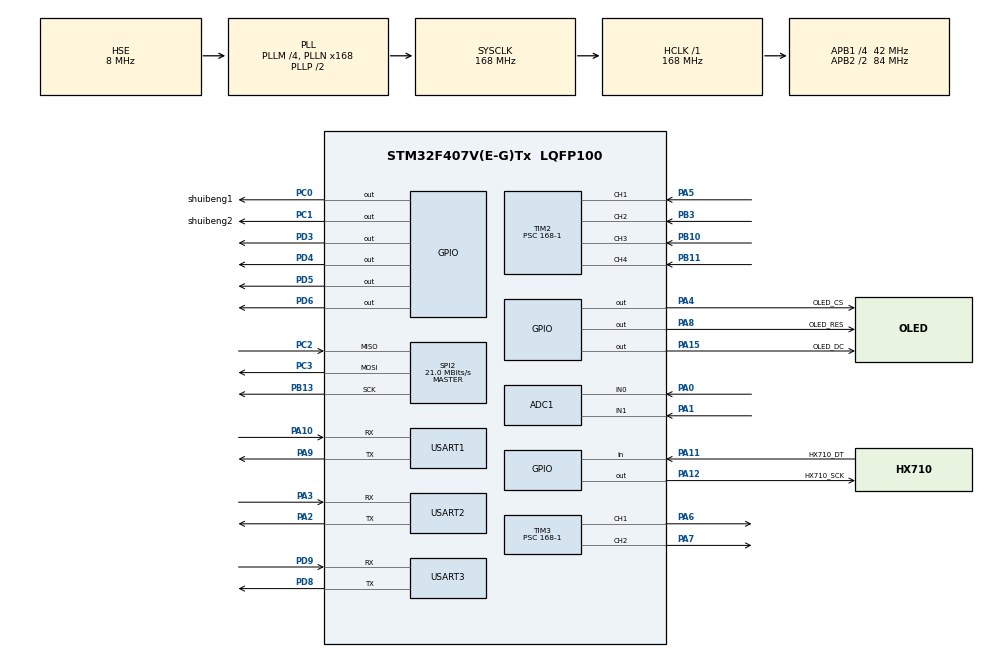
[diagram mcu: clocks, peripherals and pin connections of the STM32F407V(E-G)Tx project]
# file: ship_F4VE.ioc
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ADC1.Channel-2\#ChannelRegularConversion=ADC_CHANNEL_0
ADC1.Channel-3\#ChannelRegularConversion=ADC_CHANNEL_1
ADC1.ContinuousConvMode=DISABLE
ADC1.DMAContinuousRequests=DISABLE
ADC1.DiscontinuousConvMode=ENABLE
ADC1.NbrOfConversion=2
ADC1.NbrOfConversionFlag=1
ADC1.Rank-2\#ChannelRegularConversion=1
ADC1.Rank-3\#ChannelRegularConversion=2
ADC1.SamplingTime-2\#ChannelRegularConversion=ADC_SAMPLETIME_3CYCLES
ADC1.SamplingTime-3\#ChannelRegularConversion=ADC_SAMPLETIME_3CYCLES
ADC1.ScanConvMode=ENABLE
ADC1.master=1
FREERTOS.Queues01=capture1Queue,16,uint16_t,0,Dynamic,NULL,NULL;capture2Queue,16,uint16_t,0,Dynamic,NULL,NULL
FREERTOS.Tasks01=defaultTask,0,128,StartDefaultTask,Default,NULL,Dynamic,NULL,NULL;MPU6050Task,2,128,mpu6050Task,Default,NULL,Dynamic,NULL,NULL;TIMtask,1,128,timtask,Default,NULL,Dynamic,NULL,NULL;DISPLAY,0,128,display,Default,NULL,Dynamic,NULL,NULL;MQTT,0,128,mqtt,Default,NULL,Dynamic,NULL,NULL
Mcu.Family=STM32F4
Mcu.Name=STM32F407V(E-G)Tx
Mcu.Package=LQFP100
NVIC.PriorityGroup=NVIC_PRIORITYGROUP_4
NVIC.TIM2_IRQn=true\:5\:0\:false\:false\:true\:true\:true\:true
NVIC.TIM7_IRQn=true\:0\:0\:false\:false\:true\:false\:false\:true
NVIC.TimeBase=TIM7_IRQn
NVIC.TimeBaseIP=TIM7
NVIC.USART1_IRQn=true\:5\:0\:false\:false\:true\:true\:true\:true
NVIC.USART2_IRQn=true\:5\:0\:false\:false\:true\:true\:true\:true
NVIC.USART3_IRQn=true\:5\:0\:false\:false\:true\:true\:true\:true
PA0-WKUP.Signal=ADCx_IN0
PA1.Signal=ADCx_IN1
PA10.Mode=Asynchronous
PA10.Signal=USART1_RX
PA11.GPIO_Label=HX710_DT
PA11.Signal=GPIO_Input
PA12.GPIO_Label=HX710_SCK
PA12.Signal=GPIO_Output
PA13.Mode=Serial_Wire
PA13.Signal=SYS_JTMS-SWDIO
PA14.Mode=Serial_Wire
PA14.Signal=SYS_JTCK-SWCLK
PA15.GPIO_Label=OLED_DC
PA15.GPIO_Speed=GPIO_SPEED_FREQ_HIGH
PA15.Signal=GPIO_Output
PA2.Mode=Asynchronous
PA2.Signal=USART2_TX
PA3.Mode=Asynchronous
PA3.Signal=USART2_RX
PA4.GPIO_Label=OLED_CS
PA4.Signal=GPIO_Output
PA5.Signal=S_TIM2_CH1_ETR
PA6.Signal=S_TIM3_CH1
PA7.Signal=S_TIM3_CH2
PA8.GPIO_Label=OLED_RES
PA8.Signal=GPIO_Output
PA9.Mode=Asynchronous
PA9.Signal=USART1_TX
PB10.Signal=S_TIM2_CH3
PB11.Signal=S_TIM2_CH4
PB13.Mode=Full_Duplex_Master
PB13.Signal=SPI2_SCK
PB3.Signal=S_TIM2_CH2
PC0.GPIO_Label=shuibeng1
PC0.Signal=GPIO_Output
PC1.GPIO_Label=shuibeng2
PC1.Signal=GPIO_Output
PC2.Mode=Full_Duplex_Master
PC2.Signal=SPI2_MISO
PC3.Mode=Full_Duplex_Master
PC3.Signal=SPI2_MOSI
PD3.Signal=GPIO_Output
PD4.Signal=GPIO_Output
PD5.Signal=GPIO_Output
PD6.Signal=GPIO_Output
PD8.Mode=Asynchronous
PD8.Signal=USART3_TX
PD9.Mode=Asynchronous
PD9.Signal=USART3_RX
PH0-OSC_IN.Mode=HSE-External-Oscillator
PH0-OSC_IN.Signal=RCC_OSC_IN
PH1-OSC_OUT.Mode=HSE-External-Oscillator
PH1-OSC_OUT.Signal=RCC_OSC_OUT
ProjectManager.HeapSize=0x200
ProjectManager.StackSize=0x400
ProjectManager.TargetToolchain=MDK-ARM V5.27
RCC.48MHZClocksFreq_Value=84000000
RCC.AHBFreq_Value=168000000
RCC.APB1CLKDivider=RCC_HCLK_DIV4
RCC.APB1Freq_Value=42000000
RCC.APB1TimFreq_Value=84000000
RCC.APB2CLKDivider=RCC_HCLK_DIV2
RCC.APB2Freq_Value=84000000
RCC.APB2TimFreq_Value=168000000
RCC.CortexFreq_Value=168000000
RCC.HCLKFreq_Value=168000000
RCC.HSE_VALUE=8000000
RCC.HSI_VALUE=16000000
RCC.LSE_VALUE=32768
RCC.PLLM=4
RCC.PLLN=168
RCC.PLLSourceVirtual=RCC_PLLSOURCE_HSE
RCC.SYSCLKFreq_VALUE=168000000
RCC.SYSCLKSource=RCC_SYSCLKSOURCE_PLLCLK
RCC.VCOOutputFreq_Value=336000000
SH.ADCx_IN0.0=ADC1_IN0,IN0
SH.ADCx_IN1.0=ADC1_IN1,IN1
SH.S_TIM2_CH1_ETR.0=TIM2_CH1,Input_Capture1_from_TI1
SH.S_TIM2_CH2.0=TIM2_CH2,Input_Capture2_from_TI2
SH.S_TIM2_CH3.0=TIM2_CH3,Input_Capture3_from_TI3
SH.S_TIM2_CH4.0=TIM2_CH4,Input_Capture4_from_TI4
SH.S_TIM3_CH1.0=TIM3_CH1,PWM Generation1 CH1
SH.S_TIM3_CH2.0=TIM3_CH2,PWM Generation2 CH2
SPI2.CalculateBaudRate=21.0 MBits/s
SPI2.Direction=SPI_DIRECTION_2LINES
SPI2.Mode=SPI_MODE_MASTER
SPI2.VirtualType=VM_MASTER
TIM2.Channel-Input_Capture1_from_TI1=TIM_CHANNEL_1
TIM2.Channel-Input_Capture2_from_TI2=TIM_CHANNEL_2
TIM2.Channel-Input_Capture3_from_TI3=TIM_CHANNEL_3
TIM2.Channel-Input_Capture4_from_TI4=TIM_CHANNEL_4
TIM2.Prescaler=168-1
TIM3.Channel-PWM\ Generation1\ CH1=TIM_CHANNEL_1
TIM3.Channel-PWM\ Generation2\ CH2=TIM_CHANNEL_2
TIM3.Period=1000-1
TIM3.Prescaler=168-1
TIM6.Prescaler=168-1
USART1.VirtualMode=VM_ASYNC
USART2.VirtualMode=VM_ASYNC
USART3.VirtualMode=VM_ASYNC
VP_FREERTOS_VS_CMSIS_V1.Mode=CMSIS_V1
VP_SYS_VS_tim7.Mode=TIM7
VP_TIM6_VS_ClockSourceINT.Mode=Enable_Timer
board=custom

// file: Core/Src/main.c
/* USER CODE BEGIN Header */
/**
  ******************************************************************************
  * @file           : main.c
  * @brief          : Main program body
  ******************************************************************************
  * @attention
  *
  * <h2><center>&copy; Copyright (c) 2021 STMicroelectronics.
  * All rights reserved.</center></h2>
  *
  * This software component is licensed by ST under BSD 3-Clause license,
  * the "License"; You may not use this file except in compliance with the
  * License. You may obtain a copy of the License at:
  *                        opensource.org/licenses/BSD-3-Clause
  *
  ******************************************************************************
  */
/* USER CODE END Header */
#include "main.h"
#include "cmsis_os.h"
#include "adc.h"
#include "spi.h"
#include "tim.h"
#include "usart.h"
#include "gpio.h"

/* USER CODE BEGIN Includes */
#include "hx710.h"     //测气压
#include <oled.h>      //oled
#include <GUI.h>       //字库
#include "esp8266_at.h"    //ESP8266 AT指令
#include "esp8266_mqtt.h"   //MQTT协议
/* USER CODE END Includes */

/* USER CODE BEGIN PTD */
//int i=0;
short aacx,aacy,aacz;			//加速度传感器原始数据
short gyrox,gyroy,gyroz;		//陀螺仪原始数据
short temp;						//温度
float pitch,roll,yaw; 			//欧拉角

//	//陀螺仪方向设置
//static signed char orientation[9] = { 1, 0, 0,
//                                      0, 1, 0,
//                                      0, 0, 1};

#define WIFI_NAME "OPPOA3"
#define WIFI_PASSWD "12345678"

#define MQTT_BROKERADDRESS "a1Y76siqtl8.iot-as-mqtt.cn-shanghai.aliyuncs.com"
#define MQTT_CLIENTID "1234|securemode=3,signmethod=hmacsha1|"
#define MQTT_USARNAME "ship&a1Y76siqtl8"
#define MQTT_PASSWD "99720267EBEB0147B6428348B420B4ABB5B1C75B"

#define MQTT_SUBSCRIBE_TOPIC "/sys/a1Y76siqtl8/ship/thing/service/property/set"

uint8_t aRxBuffer; //接收中断缓冲
uint8_t cAlmStr[] = "数据溢出(大于256)\r\n";
uint8_t a[8];

/* USER CODE END PTD */

void SystemClock_Config(void);
void MX_FREERTOS_Init(void);
/* USER CODE BEGIN PFP */
int cppmGetTimestamp(uint16_t *time1,uint16_t *time2);   //返回中断遥控器值函数

void STM32_StatusReport(int i);       //MQTT上传数据
void jingbao(void);

extern void  OLED_ShowNum(uint8_t x,uint8_t y,uint32_t num,uint8_t len,uint8_t size2);   //显示数据
/* USER CODE END PFP */

int main(void)
{
  /* USER CODE BEGIN 1 */
//  //u8 t=0;
//int i=0;
//	short aacx,aacy,aacz;			//加速度传感器原始数据
//	short gyrox,gyroy,gyroz;		//陀螺仪原始数据
//	short temp;						//温度
  /* USER CODE END 1 */

  /* MCU Configuration--------------------------------------------------------*/

  /* Reset of all peripherals, Initializes the Flash interface and the Systick. */
  HAL_Init();

  /* Configure the system clock */
  SystemClock_Config();

  /* Initialize all configured peripherals */
  MX_GPIO_Init();
  MX_USART1_UART_Init();
  MX_TIM6_Init();
  MX_TIM2_Init();
  MX_TIM3_Init();
  MX_USART2_UART_Init();
  MX_SPI2_Init();
  MX_ADC1_Init();
  MX_USART3_UART_Init();
  /* USER CODE BEGIN 2 */
//		MPU_Init();						//初始化MPU6050
     OLED_Init();           //OLED初始化
//	while(mpu_dmp_init())    //MPU6050的DMP初始化
//	{
//		printf("MPU6050 Error\r\n");
//		HAL_Delay(200);
//	}
//	printf("MPU6050 OK\r\n");
	//mpu_dmp_get_data(&pitch,&roll,&yaw);
	Get_Maopi();              //气压传感器初始校正

	HAL_UART_Receive_IT(&huart2, (uint8_t *)&aRxBuffer, 1);   //再开启接收中断（重要）
	while(!ESP8266_Init())      //ESP8266初始化
	{

	}
	while(!ESP8266_ConnectAP(WIFI_NAME,WIFI_PASSWD))             //连接WiFi
	{
	}
  while(ESP8266_ConnectServer("TCP",MQTT_BROKERADDRESS,1883)==0)      //连接阿里云服务器
	{

	}
	MQTT_Connect(MQTT_CLIENTID, MQTT_USARNAME, MQTT_PASSWD);              //连接设备
	while(MQTT_SubscribeTopic(MQTT_SUBSCRIBE_TOPIC,0,1) == 0)             //发送话题
	{

	}

	HAL_TIM_IC_Start_IT(&htim2, TIM_CHANNEL_1);
	HAL_TIM_IC_Start_IT(&htim2, TIM_CHANNEL_2);
	HAL_TIM_IC_Start_IT(&htim2, TIM_CHANNEL_3);
	HAL_TIM_IC_Start_IT(&htim2, TIM_CHANNEL_4);
  __HAL_TIM_ENABLE_IT(&htim2,TIM_IT_UPDATE);

	HAL_TIM_PWM_Start(&htim3,TIM_CHANNEL_2);//启动。置1  CCER的输出使能位bit4
  HAL_TIM_PWM_Start(&htim3,TIM_CHANNEL_1);//CCER的bit0

	HAL_GPIO_WritePin(GPIOD,GPIO_PIN_3,GPIO_PIN_SET);
	HAL_GPIO_WritePin(GPIOD,GPIO_PIN_4,GPIO_PIN_SET);
	HAL_GPIO_WritePin(GPIOD,GPIO_PIN_5,GPIO_PIN_SET);
	HAL_GPIO_WritePin(GPIOD,GPIO_PIN_6,GPIO_PIN_SET);

	__HAL_TIM_SET_COMPARE(&htim3, TIM_CHANNEL_2, 0);
  __HAL_TIM_SET_COMPARE(&htim3, TIM_CHANNEL_1, 0);

	printf("ok\r\n");
  /* USER CODE END 2 */

  /* Call init function for freertos objects (in freertos.c) */
  MX_FREERTOS_Init();
  /* Start scheduler */
  osKernelStart();

  /* We should never get here as control is now taken by the scheduler */
  /* Infinite loop */
 while(1)
	{
   	}

}

void SystemClock_Config(void)
{
  RCC_OscInitTypeDef RCC_OscInitStruct = {0};
  RCC_ClkInitTypeDef RCC_ClkInitStruct = {0};

  /** Configure the main internal regulator output voltage
  */
  __HAL_RCC_PWR_CLK_ENABLE();
  __HAL_PWR_VOLTAGESCALING_CONFIG(PWR_REGULATOR_VOLTAGE_SCALE1);
  /** Initializes the RCC Oscillators according to the specified parameters
  * in the RCC_OscInitTypeDef structure.
  */
  RCC_OscInitStruct.OscillatorType = RCC_OSCILLATORTYPE_HSE;
  RCC_OscInitStruct.HSEState = RCC_HSE_ON;
  RCC_OscInitStruct.PLL.PLLState = RCC_PLL_ON;
  RCC_OscInitStruct.PLL.PLLSource = RCC_PLLSOURCE_HSE;
  RCC_OscInitStruct.PLL.PLLM = 4;
  RCC_OscInitStruct.PLL.PLLN = 168;
  RCC_OscInitStruct.PLL.PLLP = RCC_PLLP_DIV2;
  RCC_OscInitStruct.PLL.PLLQ = 4;
  if (HAL_RCC_OscConfig(&RCC_OscInitStruct) != HAL_OK)
  {
    Error_Handler();
  }
  /** Initializes the CPU, AHB and APB buses clocks
  */
  RCC_ClkInitStruct.ClockType = RCC_CLOCKTYPE_HCLK|RCC_CLOCKTYPE_SYSCLK
                              |RCC_CLOCKTYPE_PCLK1|RCC_CLOCKTYPE_PCLK2;
  RCC_ClkInitStruct.SYSCLKSource = RCC_SYSCLKSOURCE_PLLCLK;
  RCC_ClkInitStruct.AHBCLKDivider = RCC_SYSCLK_DIV1;
  RCC_ClkInitStruct.APB1CLKDivider = RCC_HCLK_DIV4;
  RCC_ClkInitStruct.APB2CLKDivider = RCC_HCLK_DIV2;

  if (HAL_RCC_ClockConfig(&RCC_ClkInitStruct, FLASH_LATENCY_5) != HAL_OK)
  {
    Error_Handler();
  }
}

/* USER CODE BEGIN 4 */
/* USER CODE BEGIN 4 */
//定时器中断，输入捕获
uint16_t 	Channel1HighTime, Channel2HighTime, Channel3HighTime, Channel4HighTime;
uint16_t 	Channel1Period, Channel2Period, Channel3Period, Channel4Period;
uint8_t  	Channel1Edge = 0, Channel2Edge = 0, Channel3Edge = 0, Channel4Edge = 0;
uint16_t 	Channel1Percent, Channel2Percent, Channel3Percent, Channel4Percent;
uint16_t	Channel1PercentTemp[3] = {0, 0, 0};
uint8_t 	Channel1TempCount = 0;
uint16_t 	Channel1RisingTimeLast=0, Channel1RisingTimeNow, Channel1FallingTime;
uint16_t 	Channel2RisingTimeLast=0, Channel2RisingTimeNow, Channel2FallingTime;
uint16_t 	Channel3RisingTimeLast=0, Channel3RisingTimeNow, Channel3FallingTime;
uint16_t 	Channel4RisingTimeLast=0, Channel4RisingTimeNow, Channel4FallingTime;

uint16_t 	Channel1pwm, Channel2pwm, Channel3pwm, Channel4pwm;

//队列进行存储数据
//extern osMessageQId capture1QueueHandle;
//extern osMessageQId capture2QueueHandle;

void HAL_TIM_IC_CaptureCallback(TIM_HandleTypeDef *htim)
{
  /* Prevent unused argument(s) compilation warning */
  UNUSED(htim);
  /* NOTE : This function Should not be modified, when the callback is needed,
            the __HAL_TIM_IC_CaptureCallback could be implemented in the user file
   */
	//portBASE_TYPE xHigherPriorityTaskWoken = pdFALSE;
	if(htim->Channel == HAL_TIM_ACTIVE_CHANNEL_1)
	{
		if(Channel1Edge == 0)
		{
			Channel1RisingTimeNow = HAL_TIM_ReadCapturedValue(&htim2, TIM_CHANNEL_1);//获取上升沿时间点
			__HAL_TIM_SET_CAPTUREPOLARITY(&htim2, TIM_CHANNEL_1, TIM_INPUTCHANNELPOLARITY_FALLING);//切换捕获极性
			HAL_TIM_IC_Start_IT(&htim2, TIM_CHANNEL_1);
			Channel1Edge = 1;
			if(Channel1RisingTimeLast == 0)
			{
				Channel1Period = 0;
			}
			else
			{
				if(Channel1RisingTimeNow > Channel1RisingTimeLast)
				{
					Channel1Period = Channel1RisingTimeNow - Channel1RisingTimeLast;
				}
				else
				{
					Channel1Period = Channel1RisingTimeNow + 0xffff - Channel1RisingTimeLast + 1;
				}
			}
			Channel1RisingTimeLast = Channel1RisingTimeNow;
		}
		else if(Channel1Edge == 1)
		{
			Channel1FallingTime = HAL_TIM_ReadCapturedValue(&htim2, TIM_CHANNEL_1);
			__HAL_TIM_SET_CAPTUREPOLARITY(&htim2, TIM_CHANNEL_1, TIM_INPUTCHANNELPOLARITY_RISING);
			HAL_TIM_IC_Start_IT(&htim2, TIM_CHANNEL_1);

			if(Channel1FallingTime < Channel1RisingTimeNow)
			{
				Channel1HighTime = Channel1FallingTime + 0xffff - Channel1RisingTimeNow + 1;
			}
			else
			{
				Channel1HighTime = Channel1FallingTime - Channel1RisingTimeNow;
			}
			if(Channel1Period != 0)
			{
				Channel1Percent = (uint8_t)(((float)Channel1HighTime / Channel1Period) * 1000);
//				printf("%d",Channel1Percent);
				Channel1pwm=(19.98*Channel1Percent-979.02);
				//Channel1pwm=39.96*Channel1Percent-2957.04;
				//xQueueSendFromISR(capture1QueueHandle, &Channel1Percent, &xHigherPriorityTaskWoken);
			}
			Channel1Edge = 0;
		}
	}
	else if(htim->Channel == HAL_TIM_ACTIVE_CHANNEL_2)
	{
		if(Channel2Edge == 0)
		{
			Channel2RisingTimeNow = HAL_TIM_ReadCapturedValue(&htim2, TIM_CHANNEL_2);
			__HAL_TIM_SET_CAPTUREPOLARITY(&htim2, TIM_CHANNEL_2, TIM_INPUTCHANNELPOLARITY_FALLING);
			HAL_TIM_IC_Start_IT(&htim2, TIM_CHANNEL_2);
			Channel2Edge = 1;
			if(Channel2RisingTimeLast == 0)
			{
				Channel2Period = 0;
			}
			else
			{
				if(Channel2RisingTimeNow > Channel2RisingTimeLast)
				{
					Channel2Period = Channel2RisingTimeNow - Channel2RisingTimeLast;
				}
				else
				{
					Channel2Period = Channel2RisingTimeNow + 0xffff - Channel2RisingTimeLast + 1;
				}
			}
			Channel2RisingTimeLast = Channel2RisingTimeNow;
		}
		else if(Channel2Edge == 1)
		{
			Channel2FallingTime = HAL_TIM_ReadCapturedValue(&htim2, TIM_CHANNEL_2);
			__HAL_TIM_SET_CAPTUREPOLARITY(&htim2, TIM_CHANNEL_2, TIM_INPUTCHANNELPOLARITY_RISING);
			HAL_TIM_IC_Start_IT(&htim2, TIM_CHANNEL_2);

			if(Channel2FallingTime < Channel2RisingTimeNow)
			{
				Channel2HighTime = Channel2FallingTime + 0xffff - Channel2RisingTimeNow + 1;
			}
			else
			{
				Channel2HighTime = Channel2FallingTime - Channel2RisingTimeNow;
			}
			if(Channel2Period != 0)
			{
				Channel2Percent = (uint8_t)(((float)Channel2HighTime / Channel2Period) * 1000);
				printf("%d",Channel2Percent);
				//xQueueSendFromISR(capture2QueueHandle, &Channel2Percent, &xHigherPriorityTaskWoken);
				Channel2pwm=(39.96*Channel2Percent-2957.04);
				//printf("Channel1 = %d	 Channel1pwm = %d\r\n", Channel1Percent,Channel1pwm);
				//printf("Channel2 = %d	 Channel2pwm = %d\r\n", Channel2Percent,Channel2pwm);
        if(Channel2Percent<74)   //后退
				{
					HAL_GPIO_WritePin(GPIOD,GPIO_PIN_3,GPIO_PIN_SET);
	        HAL_GPIO_WritePin(GPIOD,GPIO_PIN_4,GPIO_PIN_RESET);
	        HAL_GPIO_WritePin(GPIOD,GPIO_PIN_5,GPIO_PIN_SET);
	        HAL_GPIO_WritePin(GPIOD,GPIO_PIN_6,GPIO_PIN_RESET);
//					    if(Channel1Percent<74)
//							{
//							__HAL_TIM_SET_COMPARE(&htim3, TIM_CHANNEL_2, Channel1pwm);
//      				__HAL_TIM_SET_COMPARE(&htim3, TIM_CHANNEL_1, 999-Channel2pwm);
//							}
//							else if(Channel1Percent==74) //后退
//							{
							__HAL_TIM_SET_COMPARE(&htim3, TIM_CHANNEL_2, 999-Channel2pwm);
      				__HAL_TIM_SET_COMPARE(&htim3, TIM_CHANNEL_1, 999-Channel2pwm);
							printf("%d 后退\r\n",Channel2Percent);
//							}
//							else
//							{
//							__HAL_TIM_SET_COMPARE(&htim3, TIM_CHANNEL_2, 999-Channel2pwm);
//      				__HAL_TIM_SET_COMPARE(&htim3, TIM_CHANNEL_1, Channel1pwm);
//							}
				}
				else if(Channel2Percent==74)   //停止
				{
				HAL_GPIO_WritePin(GPIOD,GPIO_PIN_3,GPIO_PIN_SET);
	      HAL_GPIO_WritePin(GPIOD,GPIO_PIN_4,GPIO_PIN_SET);
	      HAL_GPIO_WritePin(GPIOD,GPIO_PIN_5,GPIO_PIN_SET);
	      HAL_GPIO_WritePin(GPIOD,GPIO_PIN_6,GPIO_PIN_SET);
				__HAL_TIM_SET_COMPARE(&htim3, TIM_CHANNEL_2, 0);
      	__HAL_TIM_SET_COMPARE(&htim3, TIM_CHANNEL_1, 0);
				printf("停止\r\n");
				}
				else
				{
					     HAL_GPIO_WritePin(GPIOD,GPIO_PIN_3,GPIO_PIN_RESET);
	             HAL_GPIO_WritePin(GPIOD,GPIO_PIN_4,GPIO_PIN_SET);
	             HAL_GPIO_WritePin(GPIOD,GPIO_PIN_5,GPIO_PIN_RESET);
	             HAL_GPIO_WritePin(GPIOD,GPIO_PIN_6,GPIO_PIN_SET);
							if(Channel1Percent<74)  //左转
							{
							__HAL_TIM_SET_COMPARE(&htim3, TIM_CHANNEL_2, 999-Channel2pwm);
      				__HAL_TIM_SET_COMPARE(&htim3, TIM_CHANNEL_1, 999-Channel1pwm);
							printf("左转 %d\r\n",Channel1pwm);
							}
							else if(Channel1Percent==74)  //前进
							{
								//mpu_dmp_get_data(&pitch,&roll,&yaw);    //获取MPU6050角度算差
								//ess=yaw;

							__HAL_TIM_SET_COMPARE(&htim3, TIM_CHANNEL_2,999-Channel2pwm);
      				__HAL_TIM_SET_COMPARE(&htim3, TIM_CHANNEL_1, 999-Channel2pwm);
							printf("前进 %.2f\r\n",roll);   //yaw 有偏移量积累不准 pitch 响应慢
							}
							else   //右转
							{
							__HAL_TIM_SET_COMPARE(&htim3, TIM_CHANNEL_2,Channel1pwm);
      				__HAL_TIM_SET_COMPARE(&htim3, TIM_CHANNEL_1, 999-Channel2pwm);
							printf("右转 %d\r\n",1000-Channel1pwm);
							}
				}

			}
			Channel2Edge = 0;
		}
	}
	else if(htim->Channel == HAL_TIM_ACTIVE_CHANNEL_3)
	{
		if(Channel3Edge == 0)
		{
			Channel3RisingTimeNow = HAL_TIM_ReadCapturedValue(&htim2, TIM_CHANNEL_3);
			__HAL_TIM_SET_CAPTUREPOLARITY(&htim2, TIM_CHANNEL_3, TIM_INPUTCHANNELPOLARITY_FALLING);
			HAL_TIM_IC_Start_IT(&htim2, TIM_CHANNEL_3);
			Channel3Edge = 1;
			if(Channel3RisingTimeLast == 0)
			{
				Channel3Period = 0;
			}
			else
			{
				if(Channel3RisingTimeNow > Channel3RisingTimeLast)
				{
					Channel3Period = Channel3RisingTimeNow - Channel3RisingTimeLast;
				}
				else
				{
					Channel3Period = Channel3RisingTimeNow + 0xffff - Channel3RisingTimeLast + 1;
				}
			}
			Channel3RisingTimeLast = Channel3RisingTimeNow;
		}
		else if(Channel3Edge == 1)
		{
			Channel3FallingTime = HAL_TIM_ReadCapturedValue(&htim2, TIM_CHANNEL_3);
			__HAL_TIM_SET_CAPTUREPOLARITY(&htim2, TIM_CHANNEL_3, TIM_INPUTCHANNELPOLARITY_RISING);
			HAL_TIM_IC_Start_IT(&htim2, TIM_CHANNEL_3);

			if(Channel3FallingTime < Channel3RisingTimeNow)
			{
				Channel3HighTime = Channel3FallingTime + 0xffff - Channel3RisingTimeNow + 1;
			}
			else
			{
				Channel3HighTime = Channel3FallingTime - Channel3RisingTimeNow;
			}
			if(Channel3Period != 0)
			{
				Channel3Percent = (uint8_t)(((float)Channel3HighTime / Channel3Period) * 1000);
				//printf("Channel3 = %d	", Channel3Percent);
			}
			Channel3Edge = 0;
		}
	}
	else if(htim->Channel == HAL_TIM_ACTIVE_CHANNEL_4)
	{
		if(Channel4Edge == 0)
		{
			Channel4RisingTimeNow = HAL_TIM_ReadCapturedValue(&htim2, TIM_CHANNEL_4);
			__HAL_TIM_SET_CAPTUREPOLARITY(&htim2, TIM_CHANNEL_4, TIM_INPUTCHANNELPOLARITY_FALLING);
			HAL_TIM_IC_Start_IT(&htim2, TIM_CHANNEL_4);
			Channel4Edge = 1;
			if(Channel4RisingTimeLast == 0)
			{
				Channel4Period = 0;
			}
			else
			{
				if(Channel4RisingTimeNow > Channel4RisingTimeLast)
				{
					Channel4Period = Channel4RisingTimeNow - Channel4RisingTimeLast;
				}
				else
				{
					Channel4Period = Channel4RisingTimeNow + 0xffff - Channel4RisingTimeLast + 1;
				}
			}
			Channel4RisingTimeLast = Channel4RisingTimeNow;
		}
		else if(Channel4Edge == 1)
		{
			Channel4FallingTime = HAL_TIM_ReadCapturedValue(&htim2, TIM_CHANNEL_4);
			__HAL_TIM_SET_CAPTUREPOLARITY(&htim2, TIM_CHANNEL_4, TIM_INPUTCHANNELPOLARITY_RISING);
			HAL_TIM_IC_Start_IT(&htim2, TIM_CHANNEL_4);

			if(Channel4FallingTime < Channel4RisingTimeNow)
			{
				Channel4HighTime = Channel4FallingTime + 0xffff - Channel4RisingTimeNow + 1;
			}
			else
			{
				Channel4HighTime = Channel4FallingTime - Channel4RisingTimeNow;
			}
			if(Channel4Period != 0)
			{
				Channel4Percent = (uint8_t)(((float)Channel4HighTime / Channel4Period) * 1000);
				//printf("Channel4 = %d\r\n", Channel4Percent);
			}
			Channel4Edge = 0;
		}
	}
}

//传回队列
int cppmGetTimestamp(uint16_t *time1,uint16_t *time2)
{

	//return xQueueReceive(capture1QueueHandle, time1, 20)&&xQueueReceive(capture2QueueHandle, time2, 20);
}

//USART2 ES8266驱动串口接收中断处理函数
void HAL_UART_RxCpltCallback(UART_HandleTypeDef *huart)
{
	if(huart->Instance == USART2)	// 判断是由哪个串口触发的中断
	{
		//将接收到的数据放入接收usart1接收数组
		usart2_rxbuf[usart2_rxcounter] = usart2_rxone[0];
		usart2_rxcounter++;	//接收数量＋1

		//重新使能串口1接收中断
		HAL_UART_Receive_IT(&huart2,usart2_rxone,1);
	}
}

////上传数据
//void STM32_StatusReport(int i)
//{
//	//获取温湿度信息
//	//uint8_t temperature=1;
//
//	sprintf(mqtt_message,"{\"method\":\"thing.event.property.post\",\"id\":\"0\",\"params\":{\"Atmosphere\":%d},\"version\":\"1.0.0\"}",i);
//

//	MQTT_PublishData(MQTT_PUBLISH_TOPIC,mqtt_message,0);
//}

//void jingbao(void)
//{
//	sprintf(mqtt_message,"{\"method\":\"thing.event.property.post\",\"id\":\"0\",\"params\":{\"Atmosphere\":%d},\"version\":\"1.0.0\"}",0);
//	MQTT_PublishData(MQTT_PUBLISH_TOPIC,mqtt_message,0);
//  sprintf(mqtt_message,"{\"method\":\"thing.event.HighwaterEvent.post\",\"id\":\"0\",\"params\":{\"Waterlevel\":%d},\"version\":\"1.0.0\"}",1);
//  MQTT_PublishData(MQTT_EVENT_YOPIC1,mqtt_message,0);
//	sprintf(mqtt_message,"{\"method\":\"thing.event.Highmuddy.post\",\"id\":\"0\",\"params\":{\"muddy\":%d},\"version\":\"1.0.0\"}",1);
//  MQTT_PublishData(MQTT_EVENT_YOPIC2,mqtt_message,0);
//}

/* USER CODE END 4 */

 /**
  * @brief  Period elapsed callback in non blocking mode
  * @note   This function is called  when TIM7 interrupt took place, inside
  * HAL_TIM_IRQHandler(). It makes a direct call to HAL_IncTick() to increment
  * a global variable "uwTick" used as application time base.
  * @param  htim : TIM handle
  * @retval None
  */
void HAL_TIM_PeriodElapsedCallback(TIM_HandleTypeDef *htim)
{
  if (htim->Instance == TIM7) {
    HAL_IncTick();
  }
}

void Error_Handler(void)
{
  __disable_irq();
  while (1)
  {
  }
}

/************************ (C) COPYRIGHT STMicroelectronics *****END OF FILE****/

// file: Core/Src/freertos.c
/* USER CODE BEGIN Header */
/**
  ******************************************************************************
  * File Name          : freertos.c
  * Description        : Code for freertos applications
  ******************************************************************************
  * @attention
  *
  * <h2><center>&copy; Copyright (c) 2021 STMicroelectronics.
  * All rights reserved.</center></h2>
  *
  * This software component is licensed by ST under Ultimate Liberty license
  * SLA0044, the "License"; You may not use this file except in compliance with
  * the License. You may obtain a copy of the License at:
  *                             www.st.com/SLA0044
  *
  ******************************************************************************
  */
/* USER CODE END Header */

#include "FreeRTOS.h"
#include "task.h"
#include "main.h"
#include "cmsis_os.h"

/* USER CODE BEGIN Includes */
#include "main.h"
#include "tim.h"
#include "adc.h"
#include "esp8266_mqtt.h"   //MQTT协议
#include <GUI.h>       //字库
/* USER CODE END Includes */

/* USER CODE BEGIN PTD */
void HAL_TIM_back(TIM_HandleTypeDef *htim);
/* USER CODE END PTD */

/* USER CODE BEGIN PD */
extern int cppmGetTimestamp(uint16_t *time1,uint16_t *time2);
/* USER CODE END PD */

/* USER CODE BEGIN PM */
int qiya=0;          //气压值
/* USER CODE END PM */

osThreadId defaultTaskHandle;
osThreadId MPU6050TaskHandle;
osThreadId TIMtaskHandle;
osThreadId DISPLAYHandle;
osThreadId MQTTHandle;
osMessageQId capture1QueueHandle;
osMessageQId capture2QueueHandle;

void StartDefaultTask(void const * argument);
void mpu6050Task(void const * argument);
void timtask(void const * argument);
void display(void const * argument);
void mqtt(void const * argument);

void MX_FREERTOS_Init(void); /* (MISRA C 2004 rule 8.1) */

/* GetIdleTaskMemory prototype (linked to static allocation support) */
void vApplicationGetIdleTaskMemory( StaticTask_t **ppxIdleTaskTCBBuffer, StackType_t **ppxIdleTaskStackBuffer, uint32_t *pulIdleTaskStackSize );

/* USER CODE BEGIN GET_IDLE_TASK_MEMORY */
static StaticTask_t xIdleTaskTCBBuffer;
static StackType_t xIdleStack[configMINIMAL_STACK_SIZE];

void vApplicationGetIdleTaskMemory( StaticTask_t **ppxIdleTaskTCBBuffer, StackType_t **ppxIdleTaskStackBuffer, uint32_t *pulIdleTaskStackSize )
{
  *ppxIdleTaskTCBBuffer = &xIdleTaskTCBBuffer;
  *ppxIdleTaskStackBuffer = &xIdleStack[0];
  *pulIdleTaskStackSize = configMINIMAL_STACK_SIZE;
  /* place for user code */
}
/* USER CODE END GET_IDLE_TASK_MEMORY */

void MX_FREERTOS_Init(void) {

  /* Create the queue(s) */
  /* definition and creation of capture1Queue */
  osMessageQDef(capture1Queue, 16, uint16_t);
  capture1QueueHandle = osMessageCreate(osMessageQ(capture1Queue), NULL);

  /* definition and creation of capture2Queue */
  osMessageQDef(capture2Queue, 16, uint16_t);
  capture2QueueHandle = osMessageCreate(osMessageQ(capture2Queue), NULL);

  /* Create the thread(s) */
  /* definition and creation of defaultTask */
  osThreadDef(defaultTask, StartDefaultTask, osPriorityNormal, 0, 128);
  defaultTaskHandle = osThreadCreate(osThread(defaultTask), NULL);

  /* definition and creation of MPU6050Task */
  osThreadDef(MPU6050Task, mpu6050Task, osPriorityHigh, 0, 128);
  MPU6050TaskHandle = osThreadCreate(osThread(MPU6050Task), NULL);

  /* definition and creation of TIMtask */
  osThreadDef(TIMtask, timtask, osPriorityAboveNormal, 0, 128);
  TIMtaskHandle = osThreadCreate(osThread(TIMtask), NULL);

  /* definition and creation of DISPLAY */
  osThreadDef(DISPLAY, display, osPriorityNormal, 0, 128);
  DISPLAYHandle = osThreadCreate(osThread(DISPLAY), NULL);

  /* definition and creation of MQTT */
  osThreadDef(MQTT, mqtt, osPriorityNormal, 0, 128);
  MQTTHandle = osThreadCreate(osThread(MQTT), NULL);

}

void StartDefaultTask(void const * argument)
{
  for(;;)
  {
    osDelay(1);
  }
}

/* USER CODE BEGIN Header_mpu6050Task */
int t=0;
extern short aacx,aacy,aacz;			//加速度传感器原始数据
extern short gyrox,gyroy,gyroz;		//陀螺仪原始数据
extern short temp;						//温度
extern float pitch,roll,yaw; 			//欧拉角
/**
* @brief Function implementing the MPU6050Task thread.
* @param argument: Not used
* @retval None
*/
/* USER CODE END Header_mpu6050Task */
void mpu6050Task(void const * argument)
{
  /* USER CODE BEGIN mpu6050Task */
  /* Infinite loop */
  for(;;)
  {
		if(mpu_dmp_get_data(&pitch,&roll,&yaw)==0)
		{
			temp=MPU_Get_Temperature();	//得到温度值
			MPU_Get_Accelerometer(&aacx,&aacy,&aacz);	//得到加速度传感器数据
			MPU_Get_Gyroscope(&gyrox,&gyroy,&gyroz);	//得到陀螺仪数据
				if((t%10)==0)
				{
					//temp值
//					if(temp<0)
//					{
//						temp=-temp;		//转为正数
//						printf(" Temp:  -%d.%dC\r\n",temp/100,temp%10);
//					}else
//						printf(" Temp:  %d.%dC\r\n",temp/100,temp%10);
//
//					//pitch值
//					temp=pitch*10;
//					if(temp<0)
//					{
//						temp=-temp;		//转为正数
//						printf(" Pitch: -%d.%dC\r\n",temp/10,temp%10);
//					}else
//						printf(" Pitch:  %d.%dC\r\n",temp/10,temp%10);

//					//roll值
//					temp=roll*10;
//					if(temp<0)
//					{
//						temp=-temp;		//转为正数
//						printf(" Roll:  -%d.%dC\r\n",temp/10,temp%10);
//					}else
//						printf(" Roll:  %d.%dC\r\n",temp/10,temp%10);

					//yaw值
					temp=yaw*10;
					if(temp<0)
					{
						temp=-temp;		//转为正数
						printf(" Yaw:  -%d.%dC\r\n",temp/10,temp%10);
					}else
						printf(" Yaw:   %d.%dC\r\n",temp/10,temp%10);

//					printf("\r\n");
					t=0;
				}
      t++;
			}
    osDelay(1);
  }
  /* USER CODE END mpu6050Task */
}

/* USER CODE BEGIN Header_timtask */
uint16_t rcData1,rcData2;
/**
* @brief Function implementing the TIMtask thread.
* @param argument: Not used
* @retval None
*/
/* USER CODE END Header_timtask */
void timtask(void const * argument)
{
  /* USER CODE BEGIN timtask */
  /* Infinite loop */
		uint16_t can1,can2;
  for(;;)
  {
    if(cppmGetTimestamp(&can1,&can2) == pdTRUE)
		{
			rcData1=can1;
			printf("rcData1: %d ",rcData1);
			rcData2=can2;
			printf("rcData2: %d\r\n",rcData2);
	  }
    osDelay(1);
  }
  /* USER CODE END timtask */
}

void display(void const * argument)
{
  /* USER CODE BEGIN display */
  /* Infinite loop */
  for(;;)
  {
		Show_Str(0, 2, "Atm:  ", 16, 0);
	  OLED_ShowNum(76,2,qiya,4,16);
    osDelay(100);
  }
  /* USER CODE END display */
}

/* USER CODE BEGIN Header_mqtt */
int i=0,j=0;
int m=0,n=0;
uint16_t adcBuf[2]={0,0};    //ad的值
float adcvcc[2];
char mqtt_message[300];	//MQTT的上报消息缓存

extern unsigned int Get_Weight(void);

#define	MQTT_PUBLISH_TOPIC "/sys/a1Y76siqtl8/ship/thing/event/property/post"
#define MQTT_EVENT_YOPIC1 "/sys/a1Y76siqtl8/ship/thing/event/HighwaterEvent/post"
#define MQTT_EVENT_YOPIC2 "/sys/a1Y76siqtl8/ship/thing/event/Highmuddy/post"
/**
* @brief Function implementing the MQTT thread.
* @param argument: Not used
* @retval None
*/
/* USER CODE END Header_mqtt */
void mqtt(void const * argument)
{
  /* USER CODE BEGIN mqtt */
  /* Infinite loop */
  for(;;)
  {
		for(i=0;i<2;i++)
  {
		HAL_ADC_Start(&hadc1);
    HAL_ADC_PollForConversion(&hadc1,0xffff);
    adcBuf[i]=HAL_ADC_GetValue(&hadc1);
		adcvcc[i]=adcBuf[i]*3.3f/4096;
    printf("------ch:%d--%.2f-------\r\n",i,adcvcc[i]);
   }
	 HAL_ADC_Stop(&hadc1);
	 qiya=Get_Weight();
	 printf("------qiya %d  \r\n",qiya);
	 taskENTER_CRITICAL();
	 if(adcvcc[0]<2&&m==0)
	 {
	    sprintf(mqtt_message,"{\"method\":\"thing.event.HighwaterEvent.post\",\"id\":\"0\",\"params\":{\"Waterlevel\":%d},\"version\":\"1.0.0\"}",1);
      MQTT_PublishData(MQTT_EVENT_YOPIC1,mqtt_message,0);
		  m=1;
	 }
	 else if(adcvcc[0]>=2)
	 {
	    m=0;
	 }
	 if(adcvcc[1]<2&&n==0)
	 {
	    sprintf(mqtt_message,"{\"method\":\"thing.event.Highmuddy.post\",\"id\":\"0\",\"params\":{\"muddy\":%d},\"version\":\"1.0.0\"}",1);
      MQTT_PublishData(MQTT_EVENT_YOPIC2,mqtt_message,0);
		  n=1;
	 }
	else if(adcvcc[1]>=2)
	 {
	    n=0;
	 }
	 if(j%10==0)
	 {
	   sprintf(mqtt_message,"{\"method\":\"thing.event.property.post\",\"id\":\"0\",\"params\":{\"Atmosphere\":%d},\"version\":\"1.0.0\"}",qiya);
    	MQTT_PublishData(MQTT_PUBLISH_TOPIC,mqtt_message,0);
	 }
	 j++;
	 taskEXIT_CRITICAL();
    osDelay(100);
  }
  /* USER CODE END mqtt */
}

/************************ (C) COPYRIGHT STMicroelectronics *****END OF FILE****/
